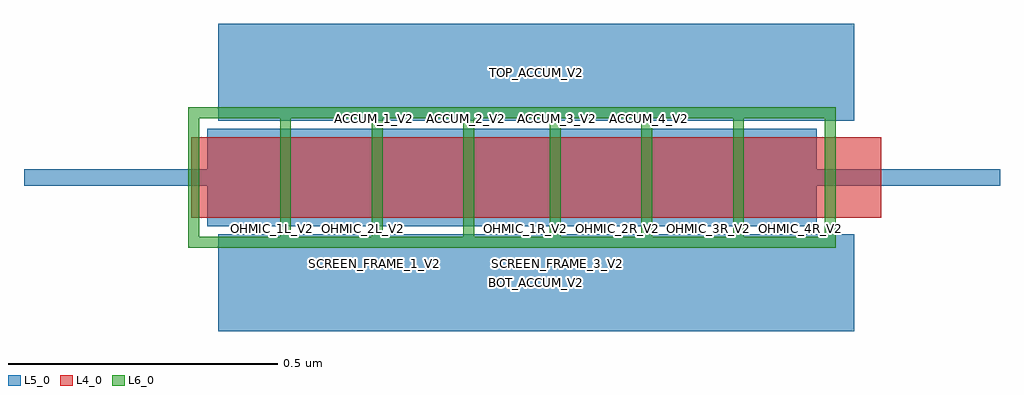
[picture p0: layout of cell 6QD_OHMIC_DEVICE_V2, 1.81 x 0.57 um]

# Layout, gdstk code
import gdstk
lib = gdstk.Library(unit=1e-6, precision=1e-09)
def R(c, l, rs):  # rectangles x0, y0, x1, y1
    for r in rs: c.add(gdstk.rectangle(r[:2], r[2:], *l))
def A(c, l, x, y, w, h, nx, ny, dx, dy):  # array of equal rectangles
    R(c, l, [(x+i*dx, y+j*dy, x+i*dx+w, y+j*dy+h) for i in range(nx) for j in range(ny)])
def P(c, l, *ps):  # polygons
    for p in ps: c.add(gdstk.Polygon(p, *l))
L4_0 = (4, 0)
L5_0 = (5, 0)
L6_0 = (6, 0)

c_6qd_ohmic_device_v2 = lib.new_cell('6QD_OHMIC_DEVICE_V2')
A(c_6qd_ohmic_device_v2, L4_0, -0.64, -0.075, 0.3, 0.15, 3, 1, 0.17, 0)
R(c_6qd_ohmic_device_v2, L4_0, [(-0.17,-0.075,0.13,0.075), (-0.13,-0.075,0.17,0.075), (0,-0.075,0.3,0.075), (0.04,-0.075,0.34,0.075), (0.17,-0.075,0.47,0.075), (0.34,-0.075,0.64,0.075)])
A(c_6qd_ohmic_device_v2, L5_0, -0.61, -0.09, 0.25, 0.18, 3, 1, 0.17, 0)
A(c_6qd_ohmic_device_v2, L5_0, -0.36, -0.09, 0.12, 0.18, 4, 1, 0.17, 0)
A(c_6qd_ohmic_device_v2, L5_0, -0.07, -0.09, 0.25, 0.18, 3, 1, 0.17, 0)
A(c_6qd_ohmic_device_v2, L5_0, -0.95, -0.015, 0.4, 0.03, 4, 1, 0.17, 0)
A(c_6qd_ohmic_device_v2, L5_0, -0.05, -0.015, 0.4, 0.03, 4, 1, 0.17, 0)
R(c_6qd_ohmic_device_v2, L5_0, [(-0.59,-0.285,0.59,-0.105), (-0.24,-0.09,0.01,0.09), (-0.1,-0.09,0.15,0.09), (-0.59,0.105,0.59,0.285)])
P(c_6qd_ohmic_device_v2, L6_0, [(0.045,0.13),(-0.645,0.13),(-0.645,-0.11),(-0.625,-0.11),(-0.625,0.11),(0.025,0.11),(0.025,-0.11),(-0.625,-0.11),(-0.645,-0.11),(-0.645,-0.13),(0.045,-0.13)],
  [(0.215,0.13),(-0.475,0.13),(-0.475,-0.11),(-0.455,-0.11),(-0.455,0.11),(0.195,0.11),(0.195,-0.11),(-0.455,-0.11),(-0.475,-0.11),(-0.475,-0.13),(0.215,-0.13)],
  [(0.385,0.13),(-0.305,0.13),(-0.305,-0.11),(-0.285,-0.11),(-0.285,0.11),(0.365,0.11),(0.365,-0.11),(-0.285,-0.11),(-0.305,-0.11),(-0.305,-0.13),(0.385,-0.13)],
  [(0.555,0.13),(-0.135,0.13),(-0.135,-0.11),(-0.115,-0.11),(-0.115,0.11),(0.535,0.11),(0.535,-0.11),(-0.115,-0.11),(-0.135,-0.11),(-0.135,-0.13),(0.555,-0.13)])
c_6qd_ohmic_device_v2.add(gdstk.Label('OHMIC_1L_V2', (-0.49,-0.095), layer=100, texttype=0))
c_6qd_ohmic_device_v2.add(gdstk.Label('OHMIC_1R_V2', (-0.02,-0.095), layer=100, texttype=0))
c_6qd_ohmic_device_v2.add(gdstk.Label('OHMIC_2L_V2', (-0.32,-0.095), layer=100, texttype=0))
c_6qd_ohmic_device_v2.add(gdstk.Label('OHMIC_2R_V2', (0.15,-0.095), layer=100, texttype=0))
c_6qd_ohmic_device_v2.add(gdstk.Label('OHMIC_3L_V2', (-0.15,-0.095), layer=100, texttype=0))
c_6qd_ohmic_device_v2.add(gdstk.Label('OHMIC_3R_V2', (0.32,-0.095), layer=100, texttype=0))
c_6qd_ohmic_device_v2.add(gdstk.Label('OHMIC_4L_V2', (0.02,-0.095), layer=100, texttype=0))
c_6qd_ohmic_device_v2.add(gdstk.Label('OHMIC_4R_V2', (0.49,-0.095), layer=100, texttype=0))
c_6qd_ohmic_device_v2.add(gdstk.Label('OHMIC_5L_V2', (0.19,-0.095), layer=100, texttype=0))
c_6qd_ohmic_device_v2.add(gdstk.Label('ACCUM_1_V2', (-0.3,0.11), layer=100, texttype=0))
c_6qd_ohmic_device_v2.add(gdstk.Label('ACCUM_2_V2', (-0.13,0.11), layer=100, texttype=0))
c_6qd_ohmic_device_v2.add(gdstk.Label('ACCUM_3_V2', (0.04,0.11), layer=100, texttype=0))
c_6qd_ohmic_device_v2.add(gdstk.Label('ACCUM_4_V2', (0.21,0.11), layer=100, texttype=0))
c_6qd_ohmic_device_v2.add(gdstk.Label('TOP_ACCUM_V2', (0,0.195), layer=100, texttype=0))
c_6qd_ohmic_device_v2.add(gdstk.Label('BOT_ACCUM_V2', (0,-0.195), layer=100, texttype=0))
c_6qd_ohmic_device_v2.add(gdstk.Label('SCREEN_FRAME_1_V2', (-0.3,-0.16), layer=100, texttype=0))
c_6qd_ohmic_device_v2.add(gdstk.Label('SCREEN_FRAME_2_V2', (-0.13,-0.16), layer=100, texttype=0))
c_6qd_ohmic_device_v2.add(gdstk.Label('SCREEN_FRAME_3_V2', (0.04,-0.16), layer=100, texttype=0))
c_6qd_ohmic_device_v2.add(gdstk.Label('SCREEN_FRAME_4_V2', (0.21,-0.16), layer=100, texttype=0))

lib.write_gds('6QD_OHMIC_DEVICE_V2.gds')
